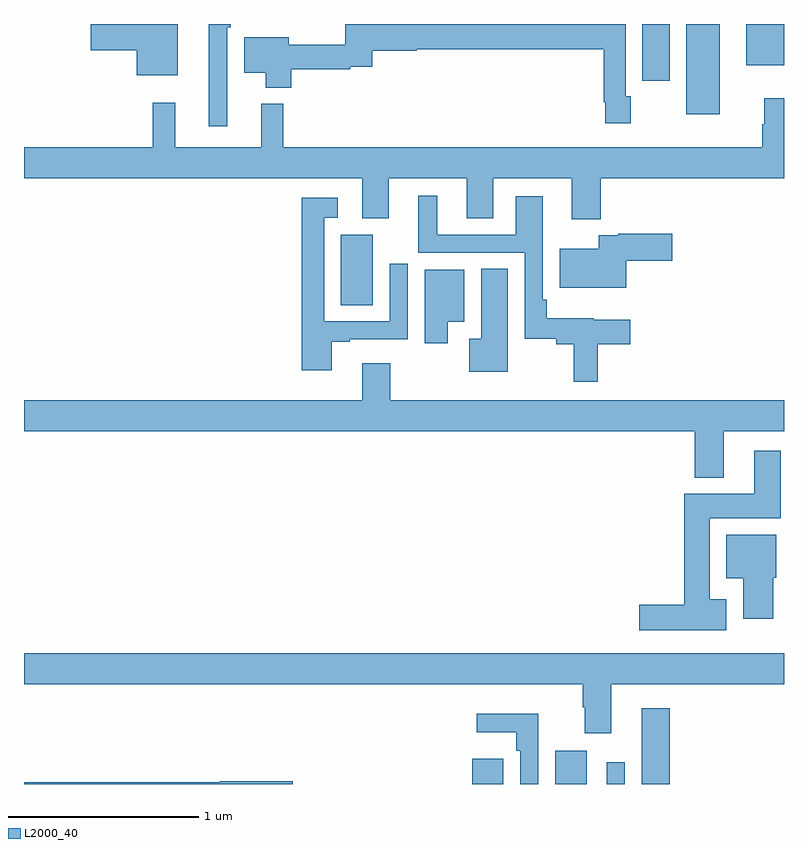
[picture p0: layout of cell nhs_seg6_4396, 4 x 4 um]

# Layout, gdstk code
import gdstk
lib = gdstk.Library(unit=1e-6, precision=1e-09)
def R(c, l, rs):  # rectangles x0, y0, x1, y1
    for r in rs: c.add(gdstk.rectangle(r[:2], r[2:], *l))
def P(c, l, *ps):  # polygons
    for p in ps: c.add(gdstk.Polygon(p, *l))
L2000_40 = (2000, 40)

nhs_seg6_4396 = lib.new_cell('nhs_seg6_4396')
R(nhs_seg6_4396, L2000_40, [(373.358,925.5,373.522,925.633), (373.796,925.5,373.963,925.675), (374.067,925.5,374.163,925.615), (374.252,925.5,374.399,925.9), (372.668,928.021,372.835,928.392), (374.486,929.024,374.662,929.5), (374.255,929.202,374.398,929.5), (374.801,929.282,375,929.5)])
P(nhs_seg6_4396, L2000_40, [(371.809,929.5),(371.352,929.5),(371.352,929.363),(371.594,929.363),(371.594,929.231),(371.809,929.231)],
  [(372.069,929.483),(372.089,929.483),(372.089,929.5),(371.972,929.5),(371.972,928.962),(372.069,928.962)],
  [(374.193,929.121),(374.166,929.121),(374.166,929.5),(372.692,929.5),(372.692,929.39),(372.394,929.39),(372.394,929.431),(372.158,929.431),(372.158,929.243),(372.272,929.243),(372.272,929.165),(372.407,929.165),(372.407,929.262),(372.716,929.262),(372.716,929.274),(372.833,929.274),(372.833,929.36),(373.068,929.36),(373.068,929.368),(374.05,929.368),(374.05,929.089),(374.058,929.089),(374.058,928.977),(374.193,928.977)],
  [(374.036,928.688),(375,928.688),(375,929.11),(374.897,929.11),(374.897,928.973),(374.885,928.973),(374.885,928.852),(372.365,928.852),(372.365,929.08),(372.248,929.08),(372.248,928.852),(371.795,928.852),(371.795,929.086),(371.677,929.086),(371.677,928.852),(371,928.852),(371,928.688),(372.779,928.688),(372.779,928.477),(372.919,928.477),(372.919,928.688),(373.331,928.688),(373.331,928.477),(373.471,928.477),(373.471,928.688),(373.883,928.688),(373.883,928.473),(374.036,928.473)],
  [(374.021,927.814),(374.191,927.814),(374.191,927.943),(373.998,927.943),(373.998,927.951),(373.751,927.951),(373.751,928.048),(373.731,928.048),(373.731,928.594),(373.589,928.594),(373.589,928.392),(373.174,928.392),(373.174,928.597),(373.075,928.597),(373.075,928.296),(373.635,928.296),(373.635,927.843),(373.802,927.843),(373.802,927.814),(373.893,927.814),(373.893,927.618),(374.021,927.618)],
  [(372.619,927.828),(372.715,927.828),(372.715,927.84),(373.02,927.84),(373.02,928.237),(372.924,928.237),(372.924,927.936),(372.579,927.936),(372.579,928.479),(372.652,928.479),(372.652,928.585),(372.463,928.585),(372.463,927.678),(372.619,927.678)],
  [(374.17,928.253),(374.413,928.253),(374.413,928.395),(374.128,928.395),(374.128,928.387),(374.024,928.387),(374.024,928.318),(373.82,928.318),(373.82,928.112),(374.17,928.112)],
  [(373.546,928.211),(373.406,928.211),(373.406,927.844),(373.343,927.844),(373.343,927.671),(373.546,927.671)],
  [(373.231,927.932),(373.318,927.932),(373.318,928.207),(373.109,928.207),(373.109,927.819),(373.231,927.819)],
  [(374.683,927.356),(375,927.356),(375,927.52),(372.927,927.52),(372.927,927.715),(372.779,927.715),(372.779,927.52),(371,927.52),(371,927.356),(374.531,927.356),(374.531,927.113),(374.683,927.113)],
  [(374.695,926.473),(374.608,926.473),(374.608,926.9),(374.983,926.9),(374.983,927.253),(374.843,927.253),(374.843,927.028),(374.474,927.028),(374.474,926.444),(374.238,926.444),(374.238,926.309),(374.695,926.309)],
  [(374.944,926.586),(374.959,926.586),(374.959,926.812),(374.696,926.812),(374.696,926.582),(374.786,926.582),(374.786,926.37),(374.944,926.37)],
  [(374.092,926.024),(375,926.024),(375,926.188),(371,926.188),(371,926.024),(373.94,926.024),(373.94,925.904),(373.952,925.904),(373.952,925.767),(374.092,925.767)],
  [(373.707,925.87),(373.383,925.87),(373.383,925.772),(373.591,925.772),(373.591,925.676),(373.611,925.676),(373.611,925.5),(373.707,925.5)],
  [(372.415,925.514),(372.03,925.514),(372.03,925.508),(371,925.508),(371,925.5),(372.415,925.5)])

lib.write_gds('nhs_seg6_4396.gds')
